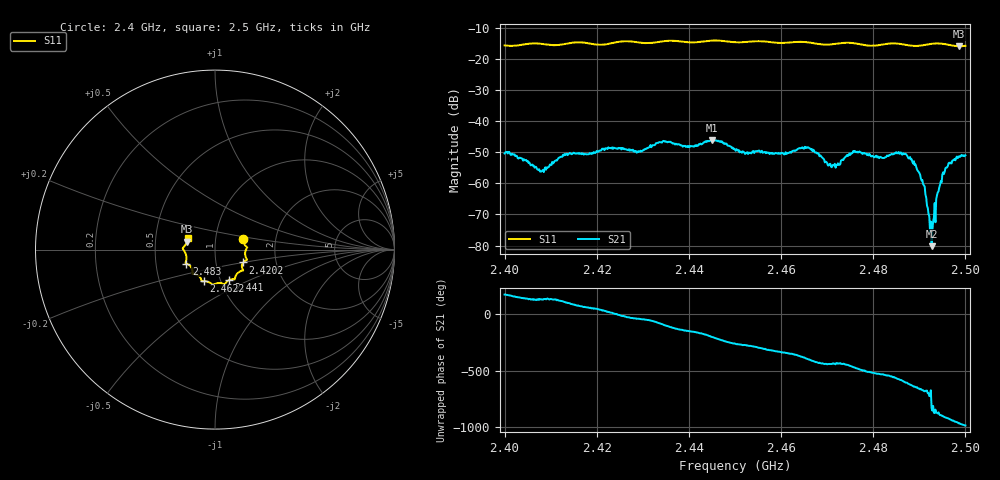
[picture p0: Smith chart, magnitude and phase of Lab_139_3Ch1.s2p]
# Hz S RI R 50
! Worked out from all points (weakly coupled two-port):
!   601 points, 2.4 GHz to 2.5 GHz, reference 50 ohm
!   highest |S21| = -46.08 dB at 2.445 GHz (marker M1); lowest = -80.2 dB at 2.4927 GHz (marker M2)
!   lowest |S11| = -15.8 dB at 2.4987 GHz (marker M3), VSWR 1.39, Z = 36.4 + j3.29 ohm
!   |S11| at or under -10 dB: start of sweep to end of sweep
!   S12 and S22 are empty: the file has one direction only
!   S11 on the Smith chart (normalised r, x): 2.4 GHz: 1.36, +0.17; 2.4202 GHz: 1.35, -0.20; 2.441 GHz: 1.09, -0.39; 2.4622 GHz: 0.83, -0.30; 2.483 GHz: 0.72, -0.12; 2.5 GHz: 0.73, +0.09
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2.4e9  0.1562 0.0603  -0.00303 0.000282  0 0  0 0
2.408e9  0.177 0.00803  -0.00105 0.00117  0 0  0 0
2.416667e9  0.1776 -0.0584  0.00101 0.00278  0 0  0 0
2.420167e9  0.1563 -0.0718  0.00224 0.00233  0 0  0 0
2.429167e9  0.1422 -0.1204  0.00248 -0.00207  0 0  0 0
2.433333e9  0.1131 -0.1523  0.00106 -0.00437  0 0  0 0
2.441e9  0.0768 -0.1706  -0.00357 -0.00162  0 0  0 0
2.445e9  0.0542 -0.193  -0.00465 0.00175  0 0  0 0
2.45e9  0.0266 -0.1863  -0.000621 0.00345  0 0  0 0
2.462167e9  -0.0631 -0.1764  0.00306 0.00061  0 0  0 0
2.466667e9  -0.0767 -0.1667  0.00221 -0.00282  0 0  0 0
2.471333e9  -0.109 -0.137  0.000543 -0.00191  0 0  0 0
2.476e9  -0.1249 -0.1305  -0.00123 -0.00311  0 0  0 0
2.483e9  -0.1592 -0.0781  -0.00282 0.000195  0 0  0 0
2.483333e9  -0.1609 -0.0776  -0.00276 0.000111  0 0  0 0
2.488833e9  -0.1599 -0.0372  0.000448 0.00223  0 0  0 0
2.490667e9  -0.1671 -0.0144  0.000765 0.000837  0 0  0 0
2.492667e9  -0.1775 0.00152  -3.84e-05 -8.98e-05  0 0  0 0
2.494167e9  -0.1795 0.00745  -0.000637 -0.000397  0 0  0 0
2.4955e9  -0.1751 0.013  -0.00151 0.0003  0 0  0 0
2.498667e9  -0.156 0.044  -0.00121 0.00246  0 0  0 0
2.5e9  -0.1528 0.0628  -0.000286 0.00282  0 0  0 0
